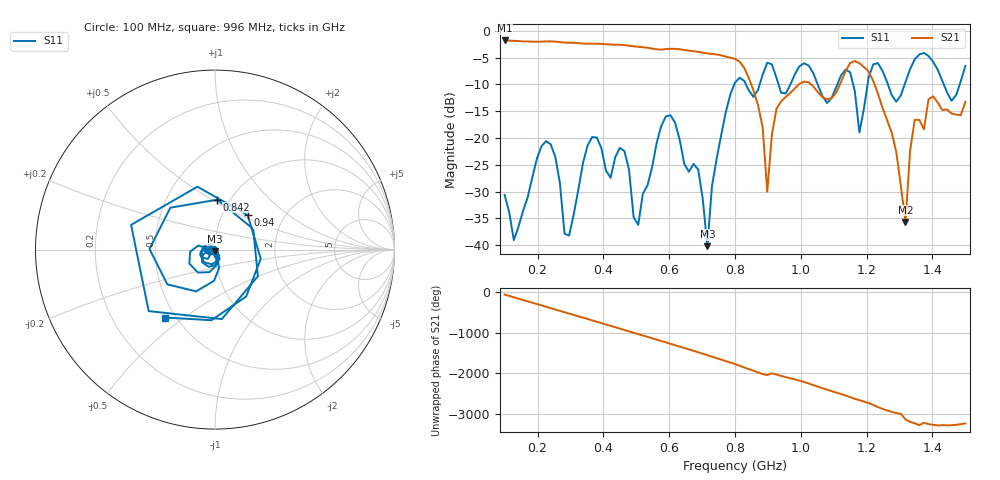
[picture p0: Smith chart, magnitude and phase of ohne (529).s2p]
! NanoVNA-App
! Date: 2025-09-25 14:24:55
! Start: 100MHz Stop: 1,5GHz Points: 101
! S-Parameter data: F S11 S21 S12 S22
# Hz S RI R 50
!  Frequency  S11_Real  S11_Imag  S21_Real  S21_Imag  S12_Real  S12_Imag  S22_Real  S22_Imag
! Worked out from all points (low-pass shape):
!   101 points, 100 MHz to 1.5 GHz, reference 50 ohm
!   highest |S21| = -1.79 dB at 100 MHz (marker M1); lowest = -35.7 dB at 1.318 GHz (marker M2)
!   |S21| within 3 dB of the highest: start of sweep to 770.9 MHz
!   lowest |S11| = -40.2 dB at 716 MHz (marker M3), VSWR 1.02, Z = 49.8 - j0.957 ohm
!   |S11| at or under -10 dB: start of sweep to 797.9 MHz; 833.2 MHz to 875 MHz (41.82 MHz wide, 4.9 % of centre); 1.051 GHz to 1.111 GHz (59.8 MHz wide, 5.53 % of centre) (the widest 3 of 7)
!   S12 and S22 are empty: the file has one direction only
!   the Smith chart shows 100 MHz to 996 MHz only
!   S11 on the Smith chart (normalised r, x): 100 MHz: 0.94, -0.01; 842 MHz: 0.88, +0.53; 940 MHz: 1.32, +0.54; 996 MHz: 0.44, -0.43
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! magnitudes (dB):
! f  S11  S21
! 100 MHz  -30.6  -1.8
! 128 MHz  -39.1  -1.9
! 226 MHz  -20.6  -2.0
! 296 MHz  -38.2  -2.2
! 338 MHz  -24.7  -2.4
! 464 MHz  -22.5  -2.7
! 506 MHz  -36.2  -3.0
! 576 MHz  -17.7  -3.5
! 688 MHz  -25.9  -3.9
! 716 MHz  -40.2  -4.2
! 800 MHz  -9.7  -5.2
! 842 MHz  -11.1  -8.8
! 898 MHz  -6.0  -30.0
! 940 MHz  -11.5  -13.2
! 996 MHz  -6.6  -9.9
! 1.038 GHz  -7.9  -10.4
! 1.178 GHz  -19.0  -6.0
! 1.22 GHz  -6.3  -9.4
! 1.276 GHz  -12.0  -19.0
! 1.318 GHz  -9.6  -35.7
! 1.346 GHz  -5.3  -16.6
! 1.5 GHz  -6.5  -13.2
